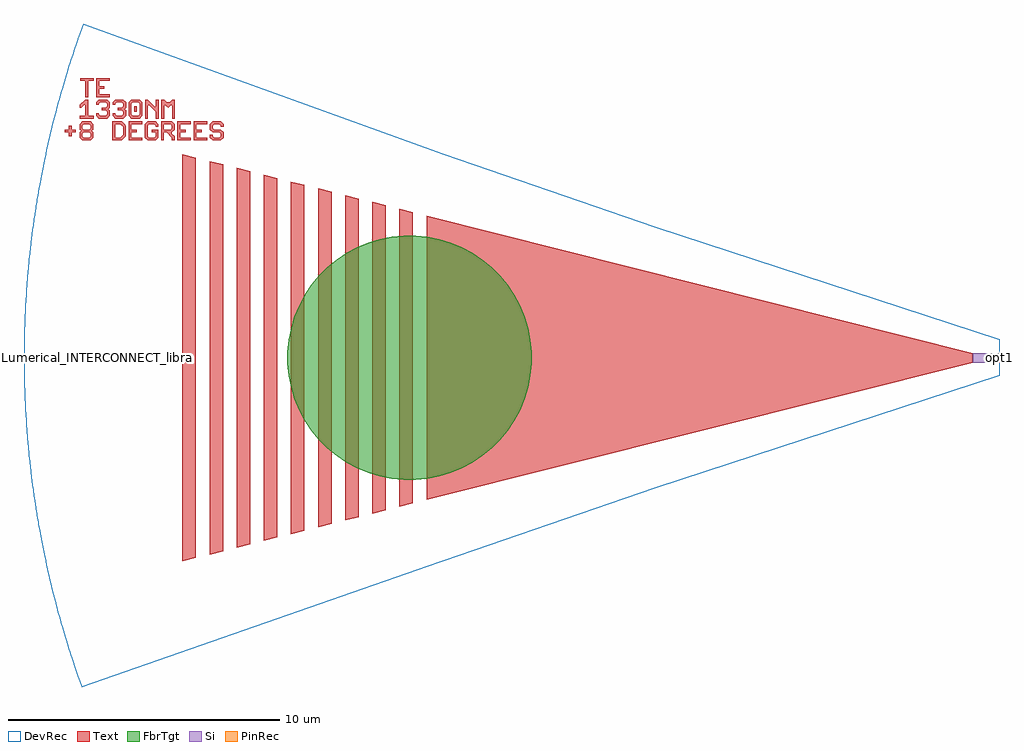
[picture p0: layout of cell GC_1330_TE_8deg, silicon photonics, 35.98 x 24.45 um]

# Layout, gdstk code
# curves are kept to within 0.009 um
import gdstk
lib = gdstk.Library(unit=1e-6, precision=1e-09)
def R(c, l, rs):  # rectangles x0, y0, x1, y1
    for r in rs: c.add(gdstk.rectangle(r[:2], r[2:], *l))
def P(c, l, *ps):  # polygons
    for p in ps: c.add(gdstk.Polygon(p, *l))
Si = (1, 0)
PinRec = (1, 10)
Text = (10, 0)
DevRec = (68, 0)
FbrTgt = (81, 0)

gc_1330_te_8deg = lib.new_cell('GC_1330_TE_8deg')
R(gc_1330_te_8deg, Si, [(-1,-0.175,0,0.175)])
R(gc_1330_te_8deg, Text, [(-31.91,9.07,-31.81,9.27)])
P(gc_1330_te_8deg, Text, [(-33.91,8.82),(-33.91,8.92),(-33.71,8.92),(-33.71,9.32),(-33.76,9.32),(-33.86,9.22),(-33.91,9.22),(-33.91,9.32),(-33.71,9.52),(-33.61,9.52),(-33.61,8.92),(-33.41,8.92),(-33.41,8.82)],
  [(-33.21,8.82),(-33.31,8.92),(-33.31,9.02),(-33.21,9.02),(-33.21,8.97),(-33.16,8.92),(-32.96,8.92),(-32.91,8.97),(-32.91,9.07),(-32.96,9.12),(-33.11,9.12),(-33.11,9.22),(-32.96,9.22),(-32.91,9.27),(-32.91,9.37),(-32.96,9.42),(-33.16,9.42),(-33.21,9.37),(-33.21,9.32),(-33.31,9.32),(-33.31,9.42),(-33.21,9.52),(-32.91,9.52),(-32.81,9.42),(-32.81,9.22),(-32.86,9.17),(-32.81,9.12),(-32.81,8.92),(-32.91,8.82)],
  [(-32.61,8.82),(-32.71,8.92),(-32.71,9.02),(-32.61,9.02),(-32.61,8.97),(-32.56,8.92),(-32.36,8.92),(-32.31,8.97),(-32.31,9.07),(-32.36,9.12),(-32.51,9.12),(-32.51,9.22),(-32.36,9.22),(-32.31,9.27),(-32.31,9.37),(-32.36,9.42),(-32.56,9.42),(-32.61,9.37),(-32.61,9.32),(-32.71,9.32),(-32.71,9.42),(-32.61,9.52),(-32.31,9.52),(-32.21,9.42),(-32.21,9.22),(-32.26,9.17),(-32.21,9.12),(-32.21,8.92),(-32.31,8.82)],
  [(-32.01,8.82),(-32.11,8.92),(-32.11,9.42),(-32.01,9.52),(-31.71,9.52),(-31.61,9.42),(-31.96,9.42),(-32.01,9.37),(-32.01,8.97),(-31.96,8.92),(-31.76,8.92),(-31.71,8.97),(-31.71,9.37),(-31.76,9.42),(-31.61,9.42),(-31.61,8.92),(-31.71,8.82)],
  [(-33.707,9.614),(-33.707,10.214),(-33.907,10.214),(-33.907,10.314),(-33.407,10.314),(-33.407,10.214),(-33.607,10.214),(-33.607,9.614)],
  [(-33.307,9.614),(-33.307,10.314),(-32.807,10.314),(-32.807,10.214),(-33.207,10.214),(-33.207,10.014),(-33.007,10.014),(-33.007,9.914),(-33.207,9.914),(-33.207,9.714),(-32.807,9.714),(-32.807,9.614)],
  [(-31.507,8.814),(-31.507,9.514),(-31.407,9.514),(-31.157,9.264),(-31.107,9.264),(-31.107,9.514),(-31.007,9.514),(-31.007,8.814),(-31.107,8.814),(-31.107,9.064),(-31.357,9.314),(-31.407,9.314),(-31.407,8.814)],
  [(-30.907,8.814),(-30.907,9.514),(-30.807,9.514),(-30.707,9.414),(-30.607,9.414),(-30.507,9.514),(-30.407,9.514),(-30.407,8.814),(-30.507,8.814),(-30.507,9.314),(-30.557,9.314),(-30.657,9.214),(-30.757,9.314),(-30.807,9.314),(-30.807,8.814)],
  [(-34.317,8.164),(-34.317,8.314),(-34.467,8.314),(-34.467,8.414),(-34.317,8.414),(-34.317,8.564),(-34.217,8.564),(-34.217,8.414),(-34.067,8.414),(-34.067,8.314),(-34.217,8.314),(-34.217,8.164)],
  [(-33.817,8.014),(-33.917,8.114),(-33.917,8.314),(-33.867,8.364),(-33.917,8.414),(-33.917,8.614),(-33.817,8.714),(-33.517,8.714),(-33.417,8.614),(-33.767,8.614),(-33.817,8.564),(-33.817,8.464),(-33.767,8.414),(-33.567,8.414),(-33.517,8.464),(-33.517,8.564),(-33.567,8.614),(-33.417,8.614),(-33.417,8.414),(-33.467,8.364),(-33.417,8.314),(-33.767,8.314),(-33.817,8.264),(-33.817,8.164),(-33.767,8.114),(-33.567,8.114),(-33.517,8.164),(-33.517,8.264),(-33.567,8.314),(-33.417,8.314),(-33.417,8.114),(-33.517,8.014)],
  [(-32.717,8.014),(-32.717,8.714),(-32.367,8.714),(-32.267,8.614),(-32.617,8.614),(-32.617,8.114),(-32.417,8.114),(-32.317,8.214),(-32.317,8.514),(-32.417,8.614),(-32.267,8.614),(-32.217,8.564),(-32.217,8.164),(-32.367,8.014)],
  [(-32.117,8.014),(-32.117,8.714),(-31.617,8.714),(-31.617,8.614),(-32.017,8.614),(-32.017,8.414),(-31.817,8.414),(-31.817,8.314),(-32.017,8.314),(-32.017,8.114),(-31.617,8.114),(-31.617,8.014)],
  [(-31.417,8.014),(-31.517,8.114),(-31.517,8.614),(-31.417,8.714),(-31.117,8.714),(-31.017,8.614),(-31.017,8.514),(-31.117,8.514),(-31.117,8.564),(-31.167,8.614),(-31.367,8.614),(-31.417,8.564),(-31.417,8.164),(-31.367,8.114),(-31.167,8.114),(-31.117,8.164),(-31.117,8.314),(-31.267,8.314),(-31.267,8.414),(-31.017,8.414),(-31.017,8.114),(-31.117,8.014)],
  [(-30.917,8.014),(-30.917,8.714),(-30.517,8.714),(-30.417,8.614),(-30.817,8.614),(-30.817,8.414),(-30.567,8.414),(-30.517,8.464),(-30.517,8.564),(-30.567,8.614),(-30.417,8.614),(-30.417,8.414),(-30.517,8.314),(-30.517,8.264),(-30.417,8.164),(-30.417,8.014),(-30.517,8.014),(-30.517,8.114),(-30.717,8.314),(-30.817,8.314),(-30.817,8.014)],
  [(-30.317,8.014),(-30.317,8.714),(-29.817,8.714),(-29.817,8.614),(-30.217,8.614),(-30.217,8.414),(-30.017,8.414),(-30.017,8.314),(-30.217,8.314),(-30.217,8.114),(-29.817,8.114),(-29.817,8.014)],
  [(-29.717,8.014),(-29.717,8.714),(-29.217,8.714),(-29.217,8.614),(-29.617,8.614),(-29.617,8.414),(-29.417,8.414),(-29.417,8.314),(-29.617,8.314),(-29.617,8.114),(-29.217,8.114),(-29.217,8.014)],
  [(-29.017,8.014),(-29.117,8.114),(-29.117,8.214),(-29.017,8.214),(-29.017,8.164),(-28.967,8.114),(-28.767,8.114),(-28.717,8.164),(-28.717,8.264),(-28.767,8.314),(-29.017,8.314),(-29.117,8.414),(-29.117,8.614),(-29.017,8.714),(-28.717,8.714),(-28.617,8.614),(-28.617,8.514),(-28.717,8.514),(-28.717,8.564),(-28.767,8.614),(-28.967,8.614),(-29.017,8.564),(-29.017,8.464),(-28.967,8.414),(-28.717,8.414),(-28.617,8.314),(-28.617,8.114),(-28.717,8.014)],
  [(-21.132,-5.241),(-21.132,5.241),(-1,0.175),(-1,-0.175)],
  [(-22.132,-5.492),(-22.132,5.492),(-21.632,5.366),(-21.632,-5.366)],
  [(-23.132,-5.744),(-23.132,5.744),(-22.632,5.618),(-22.632,-5.618)],
  [(-24.132,-5.995),(-24.132,5.995),(-23.632,5.87),(-23.632,-5.87)],
  [(-25.132,-6.247),(-25.132,6.247),(-24.632,6.121),(-24.632,-6.121)],
  [(-26.132,-6.499),(-26.132,6.499),(-25.632,6.373),(-25.632,-6.373)],
  [(-27.132,-6.75),(-27.132,6.75),(-26.632,6.624),(-26.632,-6.624)],
  [(-28.132,-7.002),(-28.132,7.002),(-27.632,6.876),(-27.632,-6.876)],
  [(-29.132,-7.254),(-29.132,7.254),(-28.632,7.128),(-28.632,-7.128)],
  [(-30.132,-7.505),(-30.132,7.505),(-29.632,7.379),(-29.632,-7.379)])
P(gc_1330_te_8deg, DevRec, [(-33.847,-12.142),(-34.314,-10.76),(-34.765,-9.212),(-34.964,-8.43),(-35.145,-7.645),(-35.441,-6.14),(-35.595,-5.185),(-35.683,-4.544),(-35.852,-2.938),(-35.942,-1.486),(-35.969,-0.517),(-35.973,0.21),(-35.935,1.664),(-35.831,3.195),(-35.741,4.079),(-35.64,4.881),(-35.398,6.396),(-35.11,7.82),(-34.964,8.447),(-34.702,9.463),(-34.29,10.853),(-33.792,12.311),(-20.52,7.526),(-12.699,4.832),(0,0.683),(0,-0.667),(-12.699,-4.816),(-20.517,-7.507)])
P(gc_1330_te_8deg, FbrTgt, [(-21.98,-4.5),(-22.42,-4.457),(-22.854,-4.37),(-23.277,-4.242),(-23.685,-4.073),(-24.075,-3.864),(-24.443,-3.619),(-24.785,-3.338),(-25.097,-3.026),(-25.378,-2.684),(-25.623,-2.316),(-25.832,-1.926),(-26.001,-1.518),(-26.129,-1.095),(-26.216,-0.661),(-26.259,-0.221),(-26.259,0.221),(-26.216,0.661),(-26.129,1.095),(-26.001,1.518),(-25.832,1.926),(-25.623,2.316),(-25.378,2.684),(-25.097,3.026),(-24.785,3.338),(-24.443,3.619),(-24.075,3.864),(-23.685,4.073),(-23.277,4.242),(-22.854,4.37),(-22.42,4.457),(-21.98,4.5),(-21.538,4.5),(-21.098,4.457),(-20.664,4.37),(-20.241,4.242),(-19.833,4.073),(-19.443,3.864),(-19.075,3.619),(-18.733,3.338),(-18.421,3.026),(-18.14,2.684),(-17.895,2.316),(-17.686,1.926),(-17.517,1.518),(-17.389,1.095),(-17.302,0.661),(-17.259,0.221),(-17.259,-0.221),(-17.302,-0.661),(-17.389,-1.095),(-17.517,-1.518),(-17.686,-1.926),(-17.895,-2.316),(-18.14,-2.684),(-18.421,-3.026),(-18.733,-3.338),(-19.075,-3.619),(-19.443,-3.864),(-19.833,-4.073),(-20.241,-4.242),(-20.664,-4.37),(-21.098,-4.457),(-21.538,-4.5)])
gc_1330_te_8deg.add(gdstk.FlexPath([(-0.01,0),(0.01,0)], 0.35, ends="flush", simple_path=True, layer=1, datatype=10))  # PinRec
gc_1330_te_8deg.add(gdstk.Label('Lumerical_INTERCONNECT_library=Custom/SiEPICfab_Shuksan_PDK', (-35.63,0), layer=68, texttype=0))
gc_1330_te_8deg.add(gdstk.Label('Component=GC_1330_TE_8deg', (-35.63,0.1), layer=68, texttype=0))
gc_1330_te_8deg.add(gdstk.Label('opt1', (0,0), layer=1, texttype=10))

lib.write_gds('GC_1330_TE_8deg.gds')
